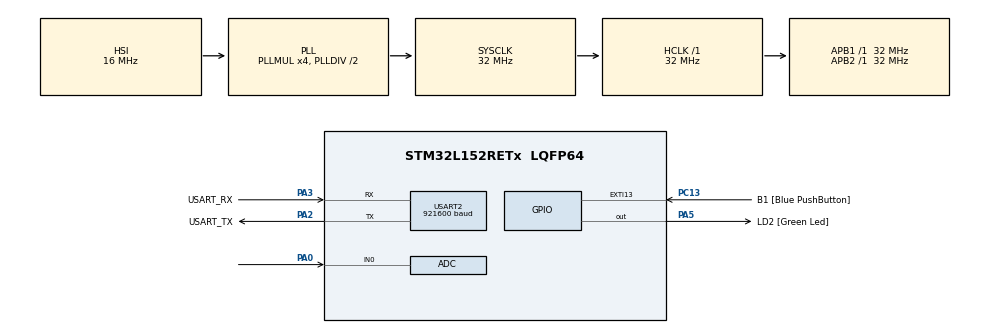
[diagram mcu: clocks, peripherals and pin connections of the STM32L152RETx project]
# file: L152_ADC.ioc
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ADC.ClockPrescaler=ADC_CLOCK_ASYNC_DIV1
ADC.ContinuousConvMode=DISABLE
ADC.DMAContinuousRequests=ENABLE
ADC.EOCSelection=ADC_EOC_SINGLE_CONV
ADC.ExternalTrigConv=ADC_EXTERNALTRIGCONV_T9_TRGO
ADC.ExternalTrigConvEdge=ADC_EXTERNALTRIGCONVEDGE_RISINGFALLING
ADC.NbrOfConversion=1
ADC.NbrOfConversionFlag=1
ARM.CMSIS.5.7.0.CMSISJjCORE=true
ARM.CMSIS.5.7.0.CMSISJjDSP=Library
Dma.ADC.0.Direction=DMA_PERIPH_TO_MEMORY
Dma.ADC.0.Instance=DMA1_Channel1
Dma.ADC.0.MemDataAlignment=DMA_MDATAALIGN_HALFWORD
Dma.ADC.0.MemInc=DMA_MINC_ENABLE
Dma.ADC.0.Mode=DMA_CIRCULAR
Dma.ADC.0.PeriphDataAlignment=DMA_PDATAALIGN_HALFWORD
Dma.ADC.0.PeriphInc=DMA_PINC_DISABLE
Dma.ADC.0.Priority=DMA_PRIORITY_LOW
Dma.Request0=ADC
Mcu.Family=STM32L1
Mcu.Name=STM32L152RETx
Mcu.Package=LQFP64
NVIC.DMA1_Channel1_IRQn=true\:0\:0\:false\:false\:true\:false\:true\:true
NVIC.PriorityGroup=NVIC_PRIORITYGROUP_0
NVIC.TIM9_IRQn=true\:0\:0\:false\:false\:true\:true\:true\:true
PA0-WKUP1.Mode=IN0
PA0-WKUP1.Signal=ADC_IN0
PA13.GPIO_Label=TMS
PA13.Mode=Serial_Wire
PA13.Signal=SYS_JTMS-SWDIO
PA14.GPIO_Label=TCK
PA14.Mode=Serial_Wire
PA14.Signal=SYS_JTCK-SWCLK
PA2.GPIO_Label=USART_TX
PA2.Mode=Asynchronous
PA2.Signal=USART2_TX
PA3.GPIO_Label=USART_RX
PA3.Mode=Asynchronous
PA3.Signal=USART2_RX
PA5.GPIO_Label=LD2 [Green Led]
PA5.Signal=GPIO_Output
PB3.GPIO_Label=SWO
PB3.Signal=SYS_JTDO-TRACESWO
PC13-WKUP2.GPIO_Label=B1 [Blue PushButton]
PC13-WKUP2.Signal=GPXTI13
PC14-OSC32_IN.Mode=LSE-External-Oscillator
PC14-OSC32_IN.Signal=RCC_OSC32_IN
PC15-OSC32_OUT.Mode=LSE-External-Oscillator
PC15-OSC32_OUT.Signal=RCC_OSC32_OUT
PH0-OSC_IN.Mode=HSE-External-Clock-Source
PH0-OSC_IN.Signal=RCC_OSC_IN
PH1-OSC_OUT.Signal=RCC_OSC_OUT
ProjectManager.HeapSize=0x200
ProjectManager.StackSize=0x400
ProjectManager.TargetToolchain=STM32CubeIDE
RCC.48MHZClocksFreq_Value=32000000
RCC.AHBFreq_Value=32000000
RCC.APB1Freq_Value=32000000
RCC.APB1TimFreq_Value=32000000
RCC.APB2Freq_Value=32000000
RCC.APB2TimFreq_Value=32000000
RCC.HCLKFreq_Value=32000000
RCC.HSE_VALUE=8000000
RCC.HSI_VALUE=16000000
RCC.MSI_VALUE=2097000
RCC.PLLMUL=RCC_PLL_MUL4
RCC.RTCClockSelectionVirtual=RCC_RTCCLKSOURCE_LSE
RCC.SYSCLKFreq_VALUE=32000000
RCC.SYSCLKSource=RCC_SYSCLKSOURCE_PLLCLK
RCC.USBOutput=48000000
RCC.VCOOutputFreq_Value=64000000
TIM9.AutoReloadPreload=TIM_AUTORELOAD_PRELOAD_DISABLE
TIM9.Period=7
TIM9.Prescaler=159
TIM9.TIM_MasterOutputTrigger=TIM_TRGO_UPDATE
TIM9.TIM_MasterSlaveMode=TIM_MASTERSLAVEMODE_DISABLE
USART2.BaudRate=921600
USART2.VirtualMode=VM_ASYNC
VP_ARM.CMSIS_VS_CMSISJjCORE_5.4.0_5.7.0.Mode=CMSISJjCORE
VP_ARM.CMSIS_VS_CMSISJjDSP_1.8.0_5.7.0.Mode=CMSISJjDSP
VP_TIM9_VS_ClockSourceINT.Mode=Internal
board=NUCLEO-L152RE

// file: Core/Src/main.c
/* USER CODE BEGIN Header */
/**
 ******************************************************************************
 * @file           : main.c
 * @brief          : Main program body
 ******************************************************************************
 * @attention
 *
 * Copyright (c) 2024 STMicroelectronics.
 * All rights reserved.
 *
 * This software is licensed under terms that can be found in the LICENSE file
 * in the root directory of this software component.
 * If no LICENSE file comes with this software, it is provided AS-IS.
 *
 ******************************************************************************
 */
/* USER CODE END Header */
#include "main.h"
#include "adc.h"
#include "dma.h"
#include "tim.h"
#include "usart.h"
#include "gpio.h"

/* USER CODE BEGIN Includes */
#include <stdio.h>
#include "arm_math.h"
/* USER CODE END Includes */

/* USER CODE BEGIN PD */
#define ADC_BUFF_SIZE 10

#define FIR_LENGTH 461
/* USER CODE END PD */

/* USER CODE BEGIN PV */
float adc_value;
uint16_t adc_buffer[ADC_BUFF_SIZE];

float32_t fir_coefficients[FIR_LENGTH] = { 0.000000000000000000,
    0.000000022609304456, 0.000000092137658127, 0.000000210376981500,
    0.000000378074907886, 0.000000594900325696, 0.000000859416815111,
    0.000001169064300580, 0.000001520149215920, 0.000001907843452345,
    0.000002326192331196, 0.000002768131812358, 0.000003225515116128,
    0.000003689148900478, 0.000004148839097111, 0.000004593446468231,
    0.000005010951901591, 0.000005388531413869, 0.000005712640781930,
    0.000005969109667889, 0.000006143245047260, 0.000006219943689868,
    0.000006183813380806, 0.000006019302503680, 0.000005710837540961,
    0.000005242967976715, 0.000004600518015692, 0.000003768744460037,
    0.000002733500011260, 0.000001481401190987, 0.000000000000000000,
    -0.000001722041638279, -0.000003694775675826, -0.000005926791075647,
    -0.000008425037448593, -0.000011194650419114, -0.000014238780007746,
    -0.000017558423373286, -0.000021152263307200, -0.000025016513915877,
    -0.000029144774962341, -0.000033527896366957, -0.000038153854386003,
    -0.000043007640996822, -0.000048071168018069, -0.000053323187482591,
    -0.000058739229758206, -0.000064291560877524, -0.000069949160491469,
    -0.000075677721802043, -0.000081439674757675, -0.000087194233709117,
    -0.000092897470625088, -0.000098502414854722, -0.000103959180298482,
    -0.000109215120710603, -0.000114215013704846, -0.000118901273871578,
    -0.000123214195238642, -0.000127092223121715, -0.000130472255212696,
    -0.000133289971547970, -0.000135480192783221, -0.000136977265978890,
    -0.000137715476871664, -0.000137629487373880, -0.000136654796805819,
    -0.000134728225127145, -0.000131788416194798, -0.000127776358837126,
    -0.000122635923299772, -0.000116314410389517, -0.000108763110419883,
    -0.000099937868848572, -0.000089799655293773, -0.000078315132425799,
    -0.000065457221054363, -0.000051205657571931, -0.000035547539771790,
    -0.000018477856937501, 0.000000000000000000, 0.000019873752518615,
    0.000041121777108205, 0.000063712680780720, 0.000087604913846630,
    0.000112746424287725, 0.000139074357997619, 0.000166514809072417,
    0.000194982624214208, 0.000224381265158973, 0.000254602732857888,
    0.000285527556926846, 0.000317024853633430, 0.000348952455414073,
    0.000381157114607204, 0.000413474783751794, 0.000445730974435899,
    0.000477741196287834, 0.000509311477285098, 0.000540238966114795,
    0.000570312616856111, 0.000599313955772492, 0.000627017929501001,
    0.000653193833411438, 0.000677606318380946, 0.000700016473693936,
    0.000720182983235291, 0.000737863351600188, 0.000752815196199786,
    0.000764797600901996, 0.000773572526213876, 0.000778906270490711,
    0.000780570976149873, 0.000778346174378884, 0.000772020361360302,
    0.000761392598594556, 0.000746274129489374, 0.000726490004004188,
    0.000701880702793345, 0.000672303751986134, 0.000637635319477743,
    0.000597771783385927, 0.000552631263156265, 0.000502155103676596,
    0.000446309302690953, 0.000385085871786737, 0.000318504121267832,
    0.000246611859321968, 0.000169486496044106, 0.000087236043089405,
    0.000000000000000000, -0.000092049881420886, -0.000188708962926191,
    -0.000289739223627016, -0.000394868909070879, -0.000503792332330792,
    -0.000616169833229712, -0.000731627901163730, -0.000849759466277988,
    -0.000970124362994252, -0.001092249969091942, -0.001215632022708469,
    -0.001339735618754229, -0.001463996385336302, -0.001587821839857698,
    -0.001710592923510197, -0.001831665711913682, -0.001950373298678269,
    -0.002066027847682981, -0.002177922808881408, -0.002285335291466635,
    -0.002387528587259935, -0.002483754836236344, -0.002573257825170752,
    -0.002655275909486315, -0.002729045047518393, -0.002793801935577453,
    -0.002848787231408712, -0.002893248852910153, -0.002926445338288832,
    -0.002947649253212949, -0.002956150629958684, -0.002951260423060331,
    -0.002932313965553967, -0.002898674409562282, -0.002849736134704403,
    -0.002784928107632617, -0.002703717175899989, -0.002605611279351113,
    -0.002490162562303985, -0.002356970369955443, -0.002205684112696052,
    -0.002036005982363005, -0.001847693504890926, -0.001640561914339420,
    -0.001414486333881437, -0.001169403750025814, -0.000905314767118358,
    -0.000622285130015536, -0.000320447003749589, 0.000000000000000001,
    0.000338788058750984, 0.000695580645376159, 0.001069972311390398,
    0.001461488752950066, 0.001869587163870110, 0.002293656878647479,
    0.002733020307130437, 0.003186934161098913, 0.003654590971628138,
    0.004135120894703703, 0.004627593801148187, 0.005131021645515233,
    0.005644361107213516, 0.006166516495748513, 0.006696342910621199,
    0.007232649645107787, 0.007774203821870057, 0.008319734247119286,
    0.008867935468884997, 0.009417472023829232, 0.009966982856004428,
    0.010515085889984224, 0.011060382739907122, 0.011601463535168466,
    0.012136911842781345, 0.012665309665806286, 0.013185242496726660,
    0.013695304404225379, 0.014194103131501134, 0.014680265184051732,
    0.015152440884749678, 0.015609309374042002, 0.016049583533223350,
    0.016472014808958144, 0.016875397917563813, 0.017258575408011220,
    0.017620442063148847, 0.017959949119311452, 0.018276108285228888,
    0.018567995542002971, 0.018834754706865513, 0.019075600744464558,
    0.019289822810542985, 0.019476787014068648, 0.019635938885141990,
    0.019766805537339234, 0.019868997514539938, 0.019942210313729766,
    0.019986225576755702, 0.020000911945533145, 0.019986225576755702,
    0.019942210313729766, 0.019868997514539938, 0.019766805537339234,
    0.019635938885141990, 0.019476787014068648, 0.019289822810542985,
    0.019075600744464561, 0.018834754706865513, 0.018567995542002971,
    0.018276108285228892, 0.017959949119311456, 0.017620442063148851,
    0.017258575408011220, 0.016875397917563817, 0.016472014808958144,
    0.016049583533223350, 0.015609309374042002, 0.015152440884749678,
    0.014680265184051732, 0.014194103131501134, 0.013695304404225379,
    0.013185242496726660, 0.012665309665806286, 0.012136911842781345,
    0.011601463535168468, 0.011060382739907124, 0.010515085889984224,
    0.009966982856004430, 0.009417472023829233, 0.008867935468884999,
    0.008319734247119286, 0.007774203821870058, 0.007232649645107790,
    0.006696342910621201, 0.006166516495748514, 0.005644361107213516,
    0.005131021645515233, 0.004627593801148190, 0.004135120894703703,
    0.003654590971628138, 0.003186934161098913, 0.002733020307130436,
    0.002293656878647479, 0.001869587163870110, 0.001461488752950066,
    0.001069972311390398, 0.000695580645376159, 0.000338788058750984,
    0.000000000000000001, -0.000320447003749589, -0.000622285130015536,
    -0.000905314767118358, -0.001169403750025814, -0.001414486333881437,
    -0.001640561914339420, -0.001847693504890926, -0.002036005982363005,
    -0.002205684112696052, -0.002356970369955444, -0.002490162562303986,
    -0.002605611279351114, -0.002703717175899990, -0.002784928107632618,
    -0.002849736134704405, -0.002898674409562284, -0.002932313965553968,
    -0.002951260423060331, -0.002956150629958684, -0.002947649253212949,
    -0.002926445338288832, -0.002893248852910154, -0.002848787231408712,
    -0.002793801935577453, -0.002729045047518393, -0.002655275909486314,
    -0.002573257825170751, -0.002483754836236344, -0.002387528587259935,
    -0.002285335291466637, -0.002177922808881409, -0.002066027847682983,
    -0.001950373298678270, -0.001831665711913683, -0.001710592923510196,
    -0.001587821839857699, -0.001463996385336302, -0.001339735618754230,
    -0.001215632022708470, -0.001092249969091943, -0.000970124362994253,
    -0.000849759466277988, -0.000731627901163730, -0.000616169833229712,
    -0.000503792332330792, -0.000394868909070879, -0.000289739223627016,
    -0.000188708962926191, -0.000092049881420886, 0.000000000000000000,
    0.000087236043089405, 0.000169486496044106, 0.000246611859321969,
    0.000318504121267832, 0.000385085871786737, 0.000446309302690953,
    0.000502155103676596, 0.000552631263156265, 0.000597771783385928,
    0.000637635319477744, 0.000672303751986135, 0.000701880702793346,
    0.000726490004004188, 0.000746274129489374, 0.000761392598594557,
    0.000772020361360302, 0.000778346174378885, 0.000780570976149873,
    0.000778906270490711, 0.000773572526213877, 0.000764797600901996,
    0.000752815196199787, 0.000737863351600188, 0.000720182983235291,
    0.000700016473693937, 0.000677606318380946, 0.000653193833411439,
    0.000627017929501001, 0.000599313955772492, 0.000570312616856111,
    0.000540238966114796, 0.000509311477285099, 0.000477741196287834,
    0.000445730974435899, 0.000413474783751794, 0.000381157114607204,
    0.000348952455414074, 0.000317024853633430, 0.000285527556926846,
    0.000254602732857889, 0.000224381265158973, 0.000194982624214209,
    0.000166514809072417, 0.000139074357997619, 0.000112746424287725,
    0.000087604913846630, 0.000063712680780720, 0.000041121777108205,
    0.000019873752518615, 0.000000000000000000, -0.000018477856937501,
    -0.000035547539771790, -0.000051205657571931, -0.000065457221054363,
    -0.000078315132425799, -0.000089799655293773, -0.000099937868848572,
    -0.000108763110419883, -0.000116314410389517, -0.000122635923299772,
    -0.000127776358837126, -0.000131788416194798, -0.000134728225127145,
    -0.000136654796805820, -0.000137629487373880, -0.000137715476871664,
    -0.000136977265978890, -0.000135480192783221, -0.000133289971547970,
    -0.000130472255212695, -0.000127092223121715, -0.000123214195238642,
    -0.000118901273871578, -0.000114215013704845, -0.000109215120710603,
    -0.000103959180298482, -0.000098502414854722, -0.000092897470625088,
    -0.000087194233709117, -0.000081439674757675, -0.000075677721802043,
    -0.000069949160491469, -0.000064291560877524, -0.000058739229758206,
    -0.000053323187482591, -0.000048071168018069, -0.000043007640996822,
    -0.000038153854386003, -0.000033527896366957, -0.000029144774962341,
    -0.000025016513915877, -0.000021152263307200, -0.000017558423373287,
    -0.000014238780007746, -0.000011194650419114, -0.000008425037448592,
    -0.000005926791075647, -0.000003694775675826, -0.000001722041638279,
    0.000000000000000000, 0.000001481401190987, 0.000002733500011260,
    0.000003768744460037, 0.000004600518015692, 0.000005242967976715,
    0.000005710837540961, 0.000006019302503680, 0.000006183813380806,
    0.000006219943689868, 0.000006143245047260, 0.000005969109667889,
    0.000005712640781930, 0.000005388531413869, 0.000005010951901591,
    0.000004593446468231, 0.000004148839097111, 0.000003689148900478,
    0.000003225515116128, 0.000002768131812358, 0.000002326192331196,
    0.000001907843452345, 0.000001520149215920, 0.000001169064300580,
    0.000000859416815111, 0.000000594900325696, 0.000000378074907886,
    0.000000210376981500, 0.000000092137658127, 0.000000022609304456,
    0.000000000000000000,

};

arm_fir_instance_f32 fir_instance;
float32_t fir_in, fir_out, fir_state[FIR_LENGTH];
/* USER CODE END PV */

void SystemClock_Config(void);

/* USER CODE BEGIN 0 */
void HAL_ADC_ConvCpltCallback(ADC_HandleTypeDef *_hadc) {

  uint32_t adc_sum = 0;
  uint8_t i;
  for (i = 0; i < ADC_BUFF_SIZE; i++)
    adc_sum += adc_buffer[i];

  adc_value = adc_sum * 3.3f / 4095.0f / ADC_BUFF_SIZE;

  HAL_GPIO_TogglePin(LD2_GPIO_Port, LD2_Pin);

  fir_in = (float32_t) adc_value;
  arm_fir_f32(&fir_instance, &fir_in, &fir_out, 1);
}

void HAL_TIM_PeriodElapsedCallback(TIM_HandleTypeDef *htim) {

}
/* USER CODE END 0 */

int main(void) {

  /* USER CODE BEGIN 1 */
  arm_fir_init_f32(&fir_instance, FIR_LENGTH, fir_coefficients, fir_state, 1);

  float32_t a[] = { 1.0f, 1.0f };
  float32_t a_amp = 0;

  arm_cmplx_mag_f32(a, &a_amp, 1);
  /* USER CODE END 1 */

  /* MCU Configuration--------------------------------------------------------*/

  /* Reset of all peripherals, Initializes the Flash interface and the Systick. */
  HAL_Init();

  /* Configure the system clock */
  SystemClock_Config();

  /* Initialize all configured peripherals */
  MX_GPIO_Init();
  MX_DMA_Init();
  MX_USART2_UART_Init();
  MX_ADC_Init();
  MX_TIM9_Init();
  /* USER CODE BEGIN 2 */
  HAL_TIM_Base_Start(&htim9);
  HAL_UART_Transmit(&huart2, (uint8_t*) "STARTED\r\n", 9, HAL_MAX_DELAY);
  HAL_ADC_Start_DMA(&hadc, (uint32_t*) adc_buffer, ADC_BUFF_SIZE);
  /* USER CODE END 2 */

  /* Infinite loop */
  /* USER CODE BEGIN WHILE */
  uint32_t uart_delay = HAL_GetTick();
  uint32_t line_counter = 0;
  while (1) {
    if (HAL_GetTick() - uart_delay > 1000) {

      uint8_t data[255];
      uint8_t len = sprintf((char*) data, "{%ld} {ADC:%f}\r\n", line_counter++,
          adc_value);
      HAL_UART_Transmit(&huart2, data, len, HAL_MAX_DELAY);

      uart_delay = HAL_GetTick();
    }

    /* USER CODE END WHILE */

  }
}

void SystemClock_Config(void) {
  RCC_OscInitTypeDef RCC_OscInitStruct = { 0 };
  RCC_ClkInitTypeDef RCC_ClkInitStruct = { 0 };

  /** Configure the main internal regulator output voltage
   */
  __HAL_PWR_VOLTAGESCALING_CONFIG(PWR_REGULATOR_VOLTAGE_SCALE1);

  /** Initializes the RCC Oscillators according to the specified parameters
   * in the RCC_OscInitTypeDef structure.
   */
  RCC_OscInitStruct.OscillatorType = RCC_OSCILLATORTYPE_HSI;
  RCC_OscInitStruct.HSIState = RCC_HSI_ON;
  RCC_OscInitStruct.HSICalibrationValue = RCC_HSICALIBRATION_DEFAULT;
  RCC_OscInitStruct.PLL.PLLState = RCC_PLL_ON;
  RCC_OscInitStruct.PLL.PLLSource = RCC_PLLSOURCE_HSI;
  RCC_OscInitStruct.PLL.PLLMUL = RCC_PLL_MUL4;
  RCC_OscInitStruct.PLL.PLLDIV = RCC_PLL_DIV2;
  if (HAL_RCC_OscConfig(&RCC_OscInitStruct) != HAL_OK) {
    Error_Handler();
  }

  /** Initializes the CPU, AHB and APB buses clocks
   */
  RCC_ClkInitStruct.ClockType = RCC_CLOCKTYPE_HCLK | RCC_CLOCKTYPE_SYSCLK
      | RCC_CLOCKTYPE_PCLK1 | RCC_CLOCKTYPE_PCLK2;
  RCC_ClkInitStruct.SYSCLKSource = RCC_SYSCLKSOURCE_PLLCLK;
  RCC_ClkInitStruct.AHBCLKDivider = RCC_SYSCLK_DIV1;
  RCC_ClkInitStruct.APB1CLKDivider = RCC_HCLK_DIV1;
  RCC_ClkInitStruct.APB2CLKDivider = RCC_HCLK_DIV1;

  if (HAL_RCC_ClockConfig(&RCC_ClkInitStruct, FLASH_LATENCY_1) != HAL_OK) {
    Error_Handler();
  }
}

void Error_Handler(void) {
  __disable_irq();
  while (1) {
  }
}
